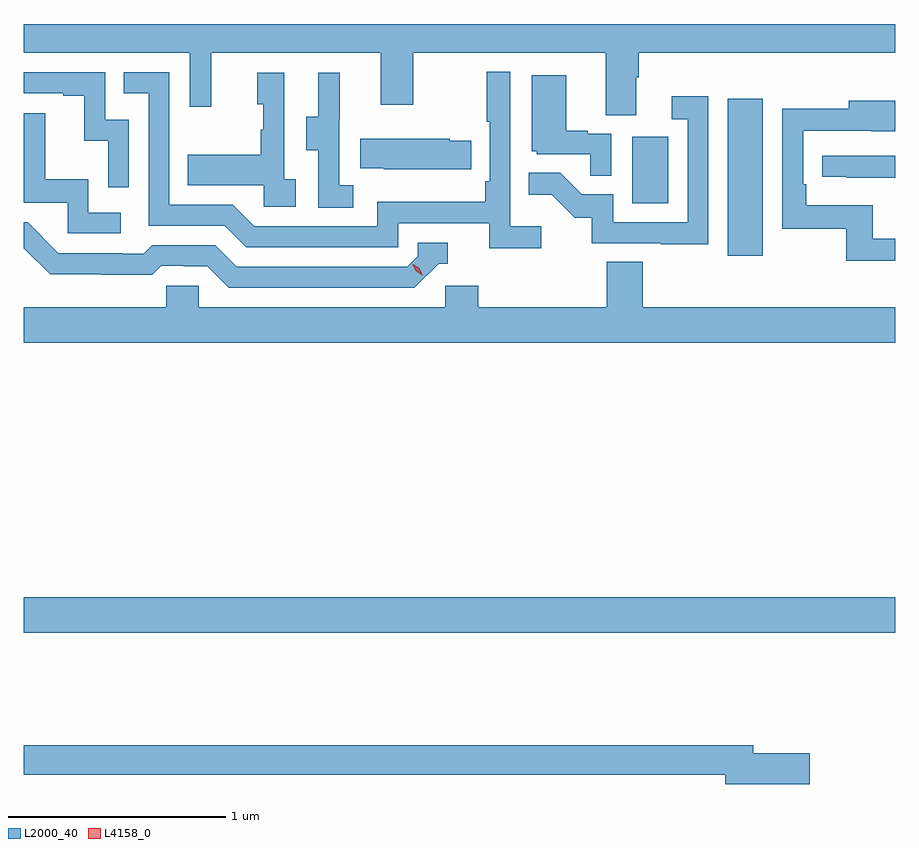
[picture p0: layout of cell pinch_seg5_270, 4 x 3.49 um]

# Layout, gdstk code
import gdstk
lib = gdstk.Library(unit=1e-6, precision=1e-09)
def R(c, l, rs):  # rectangles x0, y0, x1, y1
    for r in rs: c.add(gdstk.rectangle(r[:2], r[2:], *l))
def P(c, l, *ps):  # polygons
    for p in ps: c.add(gdstk.Polygon(p, *l))
L2000_40 = (2000, 40)
L4158_0 = (4158, 0)

pinch_seg5_270 = lib.new_cell('pinch_seg5_270')
R(pinch_seg5_270, L2000_40, [(889.618,912.704,893.618,912.868), (892.85,914.436,893.011,915.157), (892.412,914.676,892.576,914.983)])
P(pinch_seg5_270, L2000_40, [(892.429,915.256),(892.442,915.256),(892.442,915.368),(893.618,915.368),(893.618,915.5),(889.618,915.5),(889.618,915.368),(890.379,915.368),(890.379,915.12),(890.477,915.12),(890.477,915.368),(891.257,915.368),(891.257,915.129),(891.405,915.129),(891.405,915.368),(892.289,915.368),(892.289,915.082),(892.429,915.082)],
  [(891.994,914.572),(891.852,914.572),(891.852,915.28),(891.744,915.28),(891.744,915.052),(891.756,915.052),(891.756,914.779),(891.736,914.779),(891.736,914.683),(891.24,914.683),(891.24,914.571),(890.676,914.571),(890.577,914.67),(890.286,914.67),(890.286,915.279),(890.077,915.279),(890.077,915.183),(890.19,915.183),(890.19,914.574),(890.54,914.574),(890.639,914.475),(891.336,914.475),(891.336,914.586),(891.755,914.586),(891.755,914.47),(891.994,914.47)],
  [(890.1,915.06),(889.992,915.06),(889.992,915.279),(889.618,915.279),(889.618,915.183),(889.799,915.183),(889.799,915.171),(889.895,915.171),(889.895,914.963),(890.004,914.963),(890.004,914.751),(890.1,914.751)],
  [(890.866,914.786),(890.814,914.786),(890.814,915.277),(890.69,915.277),(890.69,915.132),(890.716,915.132),(890.716,915.014),(890.706,915.014),(890.706,914.899),(890.371,914.899),(890.371,914.759),(890.718,914.759),(890.718,914.661),(890.866,914.661)],
  [(891.13,914.759),(891.066,914.759),(891.066,915.063),(891.068,915.063),(891.068,915.277),(890.969,915.277),(890.969,915.075),(890.915,915.075),(890.915,914.92),(890.97,914.92),(890.97,914.656),(891.13,914.656)],
  [(892.314,914.997),(892.208,914.997),(892.208,915.01),(892.108,915.01),(892.108,915.265),(891.95,915.265),(891.95,914.916),(891.972,914.916),(891.972,914.901),(892.219,914.901),(892.219,914.803),(892.314,914.803)],
  [(892.761,915.169),(892.593,915.169),(892.593,915.063),(892.665,915.063),(892.665,914.589),(892.323,914.589),(892.323,914.718),(892.179,914.718),(892.081,914.816),(891.937,914.816),(891.937,914.717),(892.041,914.717),(892.148,914.61),(892.225,914.61),(892.225,914.493),(892.543,914.493),(892.543,914.488),(892.761,914.488)],
  [(893.618,914.513),(893.515,914.513),(893.515,914.668),(893.21,914.668),(893.21,914.764),(893.196,914.764),(893.196,915.009),(893.509,915.009),(893.509,915.008),(893.618,915.008),(893.618,915.148),(893.405,915.148),(893.405,915.11),(893.1,915.11),(893.1,914.559),(893.394,914.559),(893.394,914.412),(893.618,914.412)],
  [(890.062,914.634),(889.914,914.634),(889.914,914.788),(889.715,914.788),(889.715,915.091),(889.618,915.091),(889.618,914.679),(889.818,914.679),(889.818,914.538),(890.062,914.538)],
  [(891.671,914.964),(891.573,914.964),(891.573,914.974),(891.163,914.974),(891.163,914.837),(891.271,914.837),(891.271,914.834),(891.671,914.834)],
  [(893.618,914.895),(893.283,914.895),(893.283,914.799),(893.395,914.799),(893.395,914.794),(893.618,914.794)],
  [(891.522,914.4),(891.565,914.4),(891.565,914.496),(891.426,914.496),(891.426,914.433),(891.378,914.385),(890.595,914.385),(890.496,914.484),(890.207,914.484),(890.168,914.445),(890.069,914.445),(890.069,914.448),(889.776,914.448),(889.635,914.589),(889.618,914.589),(889.618,914.471),(889.738,914.351),(889.974,914.351),(889.974,914.349),(890.207,914.349),(890.249,914.391),(890.352,914.391),(890.352,914.388),(890.459,914.388),(890.558,914.289),(891.411,914.289)],
  [(893.618,914.2),(892.46,914.2),(892.46,914.408),(892.295,914.408),(892.295,914.2),(891.704,914.2),(891.704,914.298),(891.552,914.298),(891.552,914.2),(890.421,914.2),(890.421,914.298),(890.271,914.298),(890.271,914.2),(889.618,914.2),(889.618,914.036),(893.618,914.036)],
  [(893.227,912.152),(892.966,912.152),(892.966,912.188),(889.618,912.188),(889.618,912.052),(892.838,912.052),(892.838,912.01),(893.227,912.01)])
P(pinch_seg5_270, L4158_0, [(891.448,914.346),(891.418,914.366),(891.402,914.399),(891.402,914.399),(891.402,914.399),(891.433,914.379),(891.449,914.347),(891.449,914.346)])

lib.write_gds('pinch_seg5_270.gds')
